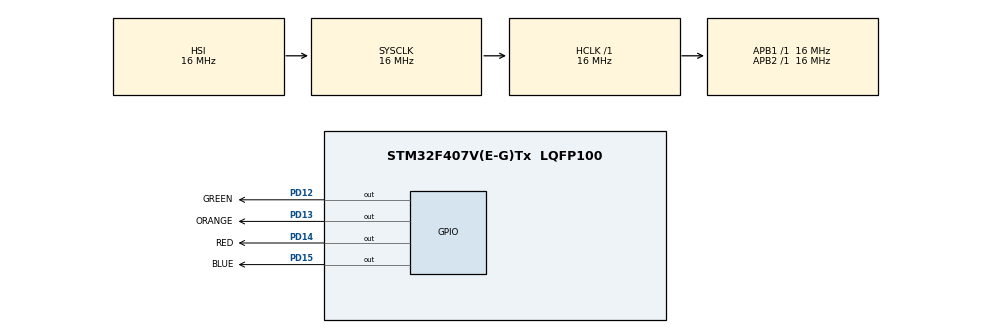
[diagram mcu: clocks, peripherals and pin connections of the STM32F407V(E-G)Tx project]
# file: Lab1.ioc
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Mcu.Family=STM32F4
Mcu.Name=STM32F407V(E-G)Tx
Mcu.Package=LQFP100
NVIC.PriorityGroup=NVIC_PRIORITYGROUP_4
PD12.GPIO_Label=GREEN
PD12.Signal=GPIO_Output
PD13.GPIO_Label=ORANGE
PD13.Signal=GPIO_Output
PD14.GPIO_Label=RED
PD14.Signal=GPIO_Output
PD15.GPIO_Label=BLUE
PD15.Signal=GPIO_Output
ProjectManager.HeapSize=0x200
ProjectManager.StackSize=0x400
ProjectManager.TargetToolchain=STM32CubeIDE
RCC.AHBFreq_Value=16000000
RCC.APB1Freq_Value=16000000
RCC.APB2Freq_Value=16000000
RCC.CortexFreq_Value=16000000
RCC.HSE_VALUE=25000000
RCC.HSI_VALUE=16000000
RCC.LSE_VALUE=32768
RCC.SYSCLKFreq_VALUE=16000000
RCC.VCOOutputFreq_Value=192000000
board=custom

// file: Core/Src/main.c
/* USER CODE BEGIN Header */
/**
  ******************************************************************************
  * @file           : main.c
  * @brief          : Main program body
  ******************************************************************************
  * @attention
  *
  * Copyright (c) 2026 STMicroelectronics.
  * All rights reserved.
  *
  * This software is licensed under terms that can be found in the LICENSE file
  * in the root directory of this software component.
  * If no LICENSE file comes with this software, it is provided AS-IS.
  *
  ******************************************************************************
  */
/* USER CODE END Header */
#include "main.h"

/* USER CODE BEGIN PM */
#define PLAY_H(time,which_color) \
do{ \
	HAL_GPIO_WritePin(GPIOD,which_color,GPIO_PIN_SET); \
	HAL_Delay(time); \
	HAL_GPIO_WritePin(GPIOD,which_color,GPIO_PIN_RESET); \
	HAL_Delay(time); \
	HAL_GPIO_WritePin(GPIOD,which_color,GPIO_PIN_SET); \
	HAL_Delay(time); \
	HAL_GPIO_WritePin(GPIOD,which_color,GPIO_PIN_RESET); \
	HAL_Delay(time); \
	HAL_GPIO_WritePin(GPIOD,which_color,GPIO_PIN_SET); \
	HAL_Delay(time); \
	HAL_GPIO_WritePin(GPIOD,which_color,GPIO_PIN_RESET); \
	HAL_Delay(time); \
	HAL_GPIO_WritePin(GPIOD,which_color,GPIO_PIN_SET); \
	HAL_Delay(time); \
	HAL_GPIO_WritePin(GPIOD,which_color,GPIO_PIN_RESET); \
	HAL_Delay((time)*2); \
} while (0)

#define PLAY_E(time,which_color)\
do{ \
	HAL_GPIO_WritePin(GPIOD,which_color,GPIO_PIN_SET); \
	HAL_Delay(time); \
	HAL_GPIO_WritePin(GPIOD,which_color,GPIO_PIN_RESET); \
	HAL_Delay((time)*2); \
} while(0)

#define PLAY_L(time,which_color)\
do{ \
	HAL_GPIO_WritePin(GPIOD,which_color,GPIO_PIN_SET); \
	HAL_Delay(time); \
	HAL_GPIO_WritePin(GPIOD,which_color,GPIO_PIN_RESET); \
	HAL_Delay(time); \
	HAL_GPIO_WritePin(GPIOD,which_color,GPIO_PIN_SET); \
	HAL_Delay((time)*3); \
	HAL_GPIO_WritePin(GPIOD,which_color,GPIO_PIN_RESET); \
	HAL_Delay(time); \
	HAL_GPIO_WritePin(GPIOD,which_color,GPIO_PIN_SET); \
	HAL_Delay(time); \
	HAL_GPIO_WritePin(GPIOD,which_color,GPIO_PIN_RESET); \
	HAL_Delay(time); \
	HAL_GPIO_WritePin(GPIOD,which_color,GPIO_PIN_SET); \
	HAL_Delay(time); \
	HAL_GPIO_WritePin(GPIOD,which_color,GPIO_PIN_RESET); \
	HAL_Delay((time)*2); \
} while(0)

#define PLAY_O(time,which_color)\
do{ \
	HAL_GPIO_WritePin(GPIOD,which_color,GPIO_PIN_SET); \
	HAL_Delay((time)*3); \
	HAL_GPIO_WritePin(GPIOD,which_color,GPIO_PIN_RESET); \
	HAL_Delay(time); \
	HAL_GPIO_WritePin(GPIOD,which_color,GPIO_PIN_SET); \
	HAL_Delay((time)*3); \
	HAL_GPIO_WritePin(GPIOD,which_color,GPIO_PIN_RESET); \
	HAL_Delay(time); \
	HAL_GPIO_WritePin(GPIOD,which_color,GPIO_PIN_SET); \
	HAL_Delay((time)*3); \
	HAL_GPIO_WritePin(GPIOD,which_color,GPIO_PIN_RESET); \
	HAL_Delay((time)*2); \
} while(0)

#define PLAY_W(time,which_color)\
do{ \
	HAL_GPIO_WritePin(GPIOD,which_color,GPIO_PIN_SET); \
	HAL_Delay(time); \
	HAL_GPIO_WritePin(GPIOD,which_color,GPIO_PIN_RESET); \
	HAL_Delay(time); \
	HAL_GPIO_WritePin(GPIOD,which_color,GPIO_PIN_SET); \
	HAL_Delay((time)*3); \
	HAL_GPIO_WritePin(GPIOD,which_color,GPIO_PIN_RESET); \
	HAL_Delay(time); \
	HAL_GPIO_WritePin(GPIOD,which_color,GPIO_PIN_SET); \
	HAL_Delay((time)*3); \
	HAL_GPIO_WritePin(GPIOD,which_color,GPIO_PIN_RESET); \
	HAL_Delay((time)*2); \
} while(0)

#define PLAY_R(time,which_color)\
do{ \
	HAL_GPIO_WritePin(GPIOD,which_color,GPIO_PIN_SET); \
	HAL_Delay(time); \
	HAL_GPIO_WritePin(GPIOD,which_color,GPIO_PIN_RESET); \
	HAL_Delay(time); \
	HAL_GPIO_WritePin(GPIOD,which_color,GPIO_PIN_SET); \
	HAL_Delay((time)*3); \
	HAL_GPIO_WritePin(GPIOD,which_color,GPIO_PIN_RESET); \
	HAL_Delay(time); \
	HAL_GPIO_WritePin(GPIOD,which_color,GPIO_PIN_SET); \
	HAL_Delay(time); \
	HAL_GPIO_WritePin(GPIOD,which_color,GPIO_PIN_RESET); \
	HAL_Delay((time)*2); \
} while(0)

#define PLAY_D(time,which_color)\
do{ \
	HAL_GPIO_WritePin(GPIOD,which_color,GPIO_PIN_SET); \
	HAL_Delay((time)*3); \
	HAL_GPIO_WritePin(GPIOD,which_color,GPIO_PIN_RESET); \
	HAL_Delay(time); \
	HAL_GPIO_WritePin(GPIOD,which_color,GPIO_PIN_SET); \
	HAL_Delay((time)); \
	HAL_GPIO_WritePin(GPIOD,which_color,GPIO_PIN_RESET); \
	HAL_Delay(time); \
	HAL_GPIO_WritePin(GPIOD,which_color,GPIO_PIN_SET); \
	HAL_Delay(time); \
	HAL_GPIO_WritePin(GPIOD,which_color,GPIO_PIN_RESET); \
	HAL_Delay((time)*2); \
} while(0)
/* USER CODE END PM */

void SystemClock_Config(void);
static void MX_GPIO_Init(void);

int main(void)
{

  /* MCU Configuration--------------------------------------------------------*/

  /* Reset of all peripherals, Initializes the Flash interface and the Systick. */
  HAL_Init();

  /* Configure the system clock */
  SystemClock_Config();

  /* Initialize all configured peripherals */
  MX_GPIO_Init();

  /* Infinite loop */
  while (1)
  {
	  PLAY_H(300,GREEN_Pin);
	  PLAY_E(300,GREEN_Pin);
	  PLAY_L(300,ORANGE_Pin);
	  PLAY_L(300,ORANGE_Pin);
	  PLAY_O(300,ORANGE_Pin);
	  // Amogus
	  HAL_Delay(600);
	  // Sugoma
	  PLAY_W(300,RED_Pin);
	  PLAY_O(300,RED_Pin);
	  PLAY_R(300,RED_Pin);
	  PLAY_L(300,BLUE_Pin);
	  PLAY_D(300,BLUE_Pin);
  }
}

void SystemClock_Config(void)
{
  RCC_OscInitTypeDef RCC_OscInitStruct = {0};
  RCC_ClkInitTypeDef RCC_ClkInitStruct = {0};

  /** Configure the main internal regulator output voltage
  */
  __HAL_RCC_PWR_CLK_ENABLE();
  __HAL_PWR_VOLTAGESCALING_CONFIG(PWR_REGULATOR_VOLTAGE_SCALE1);

  /** Initializes the RCC Oscillators according to the specified parameters
  * in the RCC_OscInitTypeDef structure.
  */
  RCC_OscInitStruct.OscillatorType = RCC_OSCILLATORTYPE_HSI;
  RCC_OscInitStruct.HSIState = RCC_HSI_ON;
  RCC_OscInitStruct.HSICalibrationValue = RCC_HSICALIBRATION_DEFAULT;
  RCC_OscInitStruct.PLL.PLLState = RCC_PLL_NONE;
  if (HAL_RCC_OscConfig(&RCC_OscInitStruct) != HAL_OK)
  {
    Error_Handler();
  }

  /** Initializes the CPU, AHB and APB buses clocks
  */
  RCC_ClkInitStruct.ClockType = RCC_CLOCKTYPE_HCLK|RCC_CLOCKTYPE_SYSCLK
                              |RCC_CLOCKTYPE_PCLK1|RCC_CLOCKTYPE_PCLK2;
  RCC_ClkInitStruct.SYSCLKSource = RCC_SYSCLKSOURCE_HSI;
  RCC_ClkInitStruct.AHBCLKDivider = RCC_SYSCLK_DIV1;
  RCC_ClkInitStruct.APB1CLKDivider = RCC_HCLK_DIV1;
  RCC_ClkInitStruct.APB2CLKDivider = RCC_HCLK_DIV1;

  if (HAL_RCC_ClockConfig(&RCC_ClkInitStruct, FLASH_LATENCY_0) != HAL_OK)
  {
    Error_Handler();
  }
}

static void MX_GPIO_Init(void)
{
  GPIO_InitTypeDef GPIO_InitStruct = {0};

  /* GPIO Ports Clock Enable */
  __HAL_RCC_GPIOD_CLK_ENABLE();

  /*Configure GPIO pin Output Level */
  HAL_GPIO_WritePin(GPIOD, GREEN_Pin|ORANGE_Pin|RED_Pin|BLUE_Pin, GPIO_PIN_RESET);

  /*Configure GPIO pins : GREEN_Pin ORANGE_Pin RED_Pin BLUE_Pin */
  GPIO_InitStruct.Pin = GREEN_Pin|ORANGE_Pin|RED_Pin|BLUE_Pin;
  GPIO_InitStruct.Mode = GPIO_MODE_OUTPUT_PP;
  GPIO_InitStruct.Pull = GPIO_NOPULL;
  GPIO_InitStruct.Speed = GPIO_SPEED_FREQ_LOW;
  HAL_GPIO_Init(GPIOD, &GPIO_InitStruct);

}

void Error_Handler(void)
{
  __disable_irq();
  while (1)
  {
  }
}
